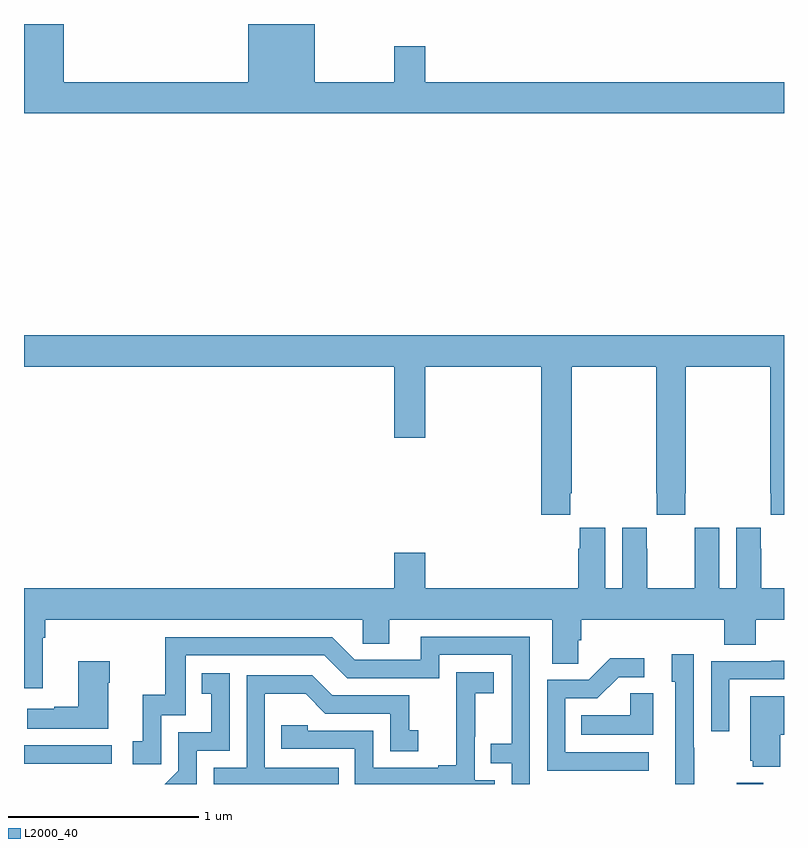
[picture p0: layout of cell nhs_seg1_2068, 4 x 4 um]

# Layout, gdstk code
import gdstk
lib = gdstk.Library(unit=1e-6, precision=1e-09)
def R(c, l, rs):  # rectangles x0, y0, x1, y1
    for r in rs: c.add(gdstk.rectangle(r[:2], r[2:], *l))
def P(c, l, *ps):  # polygons
    for p in ps: c.add(gdstk.Polygon(p, *l))
L2000_40 = (2000, 40)

nhs_seg1_2068 = lib.new_cell('nhs_seg1_2068')
R(nhs_seg1_2068, L2000_40, [(226.751,552.199,226.891,552.205), (223,552.306,223.462,552.402)])
P(nhs_seg1_2068, L2000_40, [(227,555.892),(225.112,555.892),(225.112,556.081),(224.948,556.081),(224.948,555.892),(224.53,555.892),(224.53,556.199),(224.18,556.199),(224.18,555.892),(223.21,555.892),(223.21,556.199),(223,556.199),(223,555.728),(227,555.728)],
  [(225.875,553.729),(225.882,553.729),(225.882,554.396),(226.327,554.396),(226.327,553.729),(226.329,553.729),(226.329,553.617),(226.479,553.617),(226.479,553.729),(226.482,553.729),(226.482,554.396),(226.927,554.396),(226.927,553.729),(226.929,553.729),(226.929,553.617),(227,553.617),(227,554.56),(223,554.56),(223,554.396),(224.948,554.396),(224.948,554.022),(225.112,554.022),(225.112,554.396),(225.722,554.396),(225.722,553.617),(225.875,553.617)],
  [(223.099,552.968),(223.112,552.968),(223.112,553.064),(224.784,553.064),(224.784,552.937),(224.923,552.937),(224.923,553.064),(225.779,553.064),(225.779,552.832),(225.918,552.832),(225.918,552.955),(225.932,552.955),(225.932,553.064),(226.685,553.064),(226.685,552.931),(226.85,552.931),(226.85,553.064),(227,553.064),(227,553.228),(226.879,553.228),(226.879,553.436),(226.878,553.436),(226.878,553.549),(226.748,553.549),(226.748,553.228),(226.66,553.228),(226.66,553.549),(226.53,553.549),(226.53,553.436),(226.529,553.436),(226.529,553.228),(226.279,553.228),(226.279,553.436),(226.278,553.436),(226.278,553.549),(226.148,553.549),(226.148,553.228),(226.06,553.228),(226.06,553.549),(225.926,553.549),(225.926,553.436),(225.917,553.436),(225.917,553.228),(225.112,553.228),(225.112,553.417),(224.948,553.417),(224.948,553.228),(223,553.228),(223,552.702),(223.099,552.702)],
  [(225.663,552.975),(225.089,552.975),(225.089,552.852),(224.742,552.852),(224.622,552.972),(223.743,552.972),(223.743,552.67),(223.625,552.67),(223.625,552.423),(223.572,552.423),(223.572,552.303),(223.722,552.303),(223.722,552.561),(223.851,552.561),(223.851,552.876),(224.58,552.876),(224.7,552.756),(225.186,552.756),(225.186,552.879),(225.567,552.879),(225.567,552.41),(225.457,552.41),(225.457,552.309),(225.567,552.309),(225.567,552.199),(225.663,552.199)],
  [(226.527,552.389),(226.524,552.389),(226.524,552.883),(226.409,552.883),(226.409,552.738),(226.428,552.738),(226.428,552.199),(226.527,552.199)],
  [(226.288,552.366),(225.849,552.366),(225.849,552.651),(226.018,552.651),(226.129,552.762),(226.264,552.762),(226.264,552.86),(226.085,552.86),(225.972,552.747),(225.753,552.747),(225.753,552.27),(226.288,552.27)],
  [(226.713,552.75),(227,552.75),(227,552.848),(226.933,552.848),(226.933,552.846),(226.617,552.846),(226.617,552.477),(226.713,552.477)],
  [(223.444,552.731),(223.452,552.731),(223.452,552.844),(223.286,552.844),(223.286,552.605),(223.16,552.605),(223.16,552.595),(223.017,552.595),(223.017,552.491),(223.444,552.491)],
  [(225.477,552.219),(225.372,552.219),(225.372,552.449),(225.374,552.449),(225.374,552.677),(225.472,552.677),(225.472,552.787),(225.274,552.787),(225.274,552.581),(225.275,552.581),(225.275,552.298),(225.179,552.298),(225.179,552.285),(224.838,552.285),(224.838,552.48),(224.493,552.48),(224.493,552.507),(224.353,552.507),(224.353,552.384),(224.742,552.384),(224.742,552.199),(225.477,552.199)],
  [(223.908,552.375),(224.082,552.375),(224.082,552.781),(223.936,552.781),(223.936,552.675),(223.985,552.675),(223.985,552.471),(223.812,552.471),(223.812,552.27),(223.741,552.199),(223.908,552.199)],
  [(224.657,552.285),(224.268,552.285),(224.268,552.674),(224.482,552.674),(224.586,552.57),(224.928,552.57),(224.928,552.372),(225.076,552.372),(225.076,552.481),(225.027,552.481),(225.027,552.666),(224.623,552.666),(224.518,552.771),(224.172,552.771),(224.172,552.285),(223.998,552.285),(223.998,552.199),(224.657,552.199)],
  [(226.312,552.677),(226.191,552.677),(226.191,552.562),(225.934,552.562),(225.934,552.458),(226.312,552.458)],
  [(226.981,552.458),(227,552.458),(227,552.661),(226.823,552.661),(226.823,552.321),(226.835,552.321),(226.835,552.29),(226.981,552.29)])

lib.write_gds('nhs_seg1_2068.gds')
